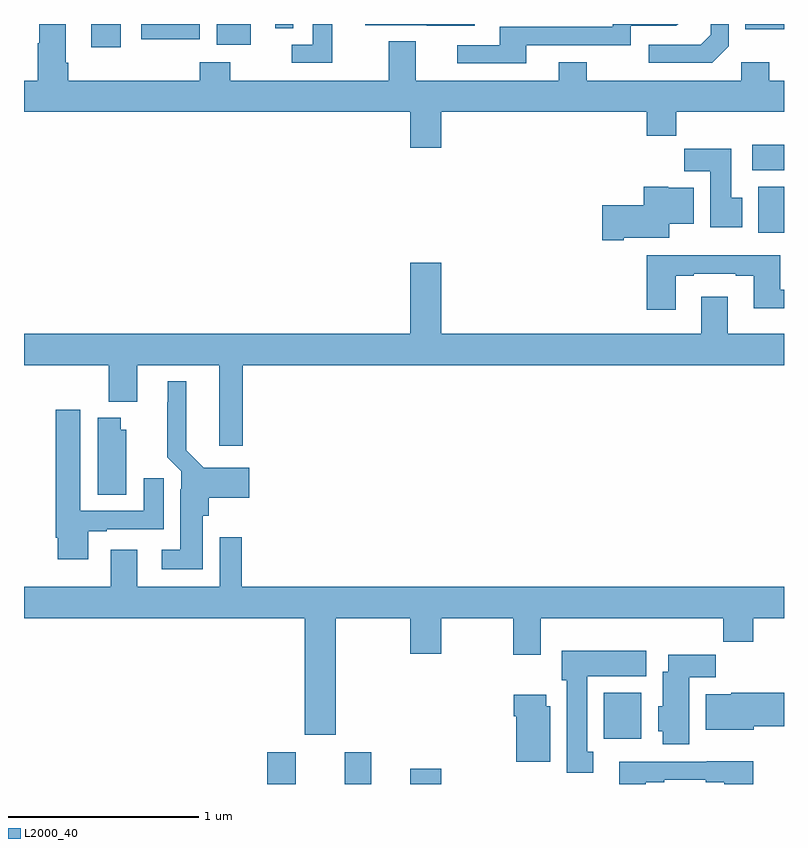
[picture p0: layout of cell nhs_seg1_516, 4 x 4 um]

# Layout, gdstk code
import gdstk
lib = gdstk.Library(unit=1e-6, precision=1e-09)
def R(c, l, rs):  # rectangles x0, y0, x1, y1
    for r in rs: c.add(gdstk.rectangle(r[:2], r[2:], *l))
def P(c, l, *ps):  # polygons
    for p in ps: c.add(gdstk.Polygon(p, *l))
L2000_40 = (2000, 40)

nhs_seg1_516 = lib.new_cell('nhs_seg1_516')
R(nhs_seg1_516, L2000_40, [(140.279,544.199,140.431,544.366), (140.687,544.199,140.827,544.366), (141.032,544.199,141.196,544.279), (142.052,544.436,142.249,544.678), (142.865,547.1,143,547.342), (142.833,547.43,143,547.564), (139.355,548.076,139.51,548.199), (140.015,548.09,140.194,548.199), (139.617,548.119,139.926,548.199), (142.795,548.171,143,548.199), (140.322,548.176,140.418,548.199)])
P(nhs_seg1_516, L2000_40, [(140.623,548.199),(140.519,548.199),(140.519,548.091),(140.409,548.091),(140.409,547.995),(140.623,547.995)],
  [(141.643,548.088),(142.194,548.088),(142.194,548.19),(142.434,548.19),(142.443,548.199),(142.098,548.199),(142.098,548.184),(141.503,548.184),(141.503,548.088),(141.279,548.088),(141.279,547.992),(141.643,547.992)],
  [(142.71,548.082),(142.71,548.199),(142.614,548.199),(142.614,548.142),(142.563,548.091),(142.287,548.091),(142.287,547.995),(142.623,547.995)],
  [(141.373,548.199),(140.795,548.199),(140.795,548.193),(141.119,548.193),(141.119,548.189),(141.373,548.189)],
  [(141.196,547.736),(142.277,547.736),(142.277,547.612),(142.433,547.612),(142.433,547.736),(143,547.736),(143,547.9),(142.923,547.9),(142.923,547.999),(142.776,547.999),(142.776,547.9),(141.963,547.9),(141.963,547.999),(141.815,547.999),(141.815,547.9),(141.061,547.9),(141.061,548.108),(140.921,548.108),(140.921,547.9),(140.085,547.9),(140.085,547.999),(139.925,547.999),(139.925,547.9),(139.232,547.9),(139.232,547.996),(139.219,547.996),(139.219,548.199),(139.079,548.199),(139.079,548.099),(139.072,548.099),(139.072,547.9),(139,547.9),(139,547.736),(141.032,547.736),(141.032,547.548),(141.196,547.548)],
  [(142.78,547.284),(142.723,547.284),(142.723,547.543),(142.474,547.543),(142.474,547.424),(142.613,547.424),(142.613,547.128),(142.78,547.128)],
  [(142.156,547.073),(142.396,547.073),(142.396,547.148),(142.525,547.148),(142.525,547.336),(142.392,547.336),(142.392,547.342),(142.262,547.342),(142.262,547.244),(142.044,547.244),(142.044,547.061),(142.156,547.061)],
  [(142.429,546.873),(142.525,546.873),(142.525,546.885),(142.745,546.885),(142.745,546.873),(142.841,546.873),(142.841,546.704),(143,546.704),(143,546.801),(142.981,546.801),(142.981,546.982),(142.277,546.982),(142.277,546.696),(142.429,546.696)],
  [(140.15,546.404),(143,546.404),(143,546.568),(142.705,546.568),(142.705,546.763),(142.565,546.763),(142.565,546.568),(141.196,546.568),(141.196,546.943),(141.032,546.943),(141.032,546.568),(139,546.568),(139,546.404),(139.445,546.404),(139.445,546.212),(139.597,546.212),(139.597,546.404),(140.027,546.404),(140.027,545.979),(140.15,545.979)],
  [(139.942,545.61),(139.973,545.61),(139.973,545.705),(140.185,545.705),(140.185,545.863),(139.947,545.863),(139.855,545.956),(139.855,546.319),(139.757,546.319),(139.757,546.209),(139.753,546.209),(139.753,545.918),(139.827,545.844),(139.827,545.75),(139.823,545.75),(139.823,545.431),(139.725,545.431),(139.725,545.33),(139.942,545.33)],
  [(139.339,545.529),(139.435,545.529),(139.435,545.541),(139.735,545.541),(139.735,545.809),(139.631,545.809),(139.631,545.637),(139.297,545.637),(139.297,546.169),(139.166,546.169),(139.166,545.494),(139.178,545.494),(139.178,545.382),(139.339,545.382)],
  [(139.537,546.063),(139.51,546.063),(139.51,546.127),(139.388,546.127),(139.388,545.722),(139.537,545.722)],
  [(140.641,545.072),(141.032,545.072),(141.032,544.884),(141.196,544.884),(141.196,545.072),(141.574,545.072),(141.574,544.878),(141.721,544.878),(141.721,545.072),(142.681,545.072),(142.681,544.948),(142.838,544.948),(142.838,545.072),(143,545.072),(143,545.236),(140.147,545.236),(140.147,545.497),(140.031,545.497),(140.031,545.236),(139.597,545.236),(139.597,545.431),(139.457,545.431),(139.457,545.236),(139,545.236),(139,545.072),(140.477,545.072),(140.477,544.458),(140.641,544.458)],
  [(141.997,544.37),(141.964,544.37),(141.964,544.766),(142.276,544.766),(142.276,544.9),(141.83,544.9),(141.83,544.746),(141.857,544.746),(141.857,544.257),(141.997,544.257)],
  [(142.501,544.76),(142.64,544.76),(142.64,544.879),(142.391,544.879),(142.391,544.789),(142.361,544.789),(142.361,544.608),(142.337,544.608),(142.337,544.476),(142.361,544.476),(142.361,544.409),(142.501,544.409)],
  [(142.84,544.502),(143,544.502),(143,544.678),(142.722,544.678),(142.722,544.672),(142.589,544.672),(142.589,544.484),(142.84,544.484)],
  [(141.769,544.608),(141.748,544.608),(141.748,544.669),(141.578,544.669),(141.578,544.556),(141.59,544.556),(141.59,544.316),(141.769,544.316)],
  [(142.273,544.209),(142.369,544.209),(142.369,544.221),(142.589,544.221),(142.589,544.209),(142.685,544.209),(142.685,544.199),(142.838,544.199),(142.838,544.318),(142.593,544.318),(142.593,544.317),(142.133,544.317),(142.133,544.199),(142.273,544.199)])

lib.write_gds('nhs_seg1_516.gds')
